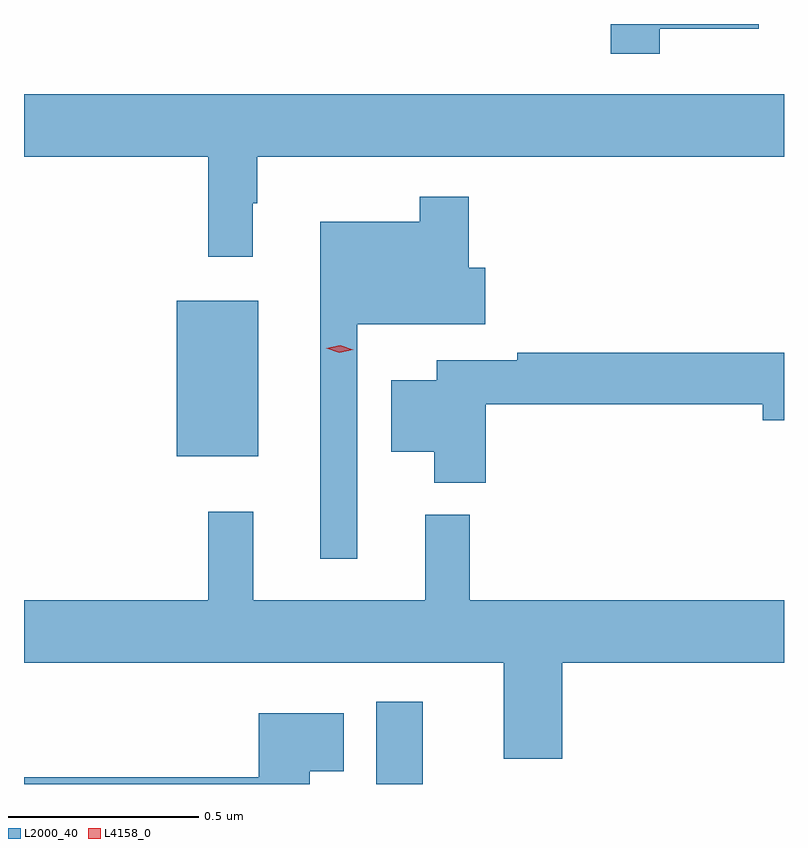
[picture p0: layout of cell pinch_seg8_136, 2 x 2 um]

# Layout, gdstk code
import gdstk
lib = gdstk.Library(unit=1e-6, precision=1e-09)
def R(c, l, rs):  # rectangles x0, y0, x1, y1
    for r in rs: c.add(gdstk.rectangle(r[:2], r[2:], *l))
def P(c, l, *ps):  # polygons
    for p in ps: c.add(gdstk.Polygon(p, *l))
L2000_40 = (2000, 40)
L4158_0 = (4158, 0)

pinch_seg8_136 = lib.new_cell('pinch_seg8_136')
R(pinch_seg8_136, L2000_40, [(773.273,1125.505,773.395,1125.721), (772.748,1126.367,772.963,1126.777)])
P(pinch_seg8_136, L2000_40, [(774.019,1127.492),(774.28,1127.492),(774.28,1127.505),(773.89,1127.505),(773.89,1127.427),(774.019,1127.427)],
  [(772.948,1127.033),(772.96,1127.033),(772.96,1127.156),(774.346,1127.156),(774.346,1127.32),(772.346,1127.32),(772.346,1127.156),(772.831,1127.156),(772.831,1126.893),(772.948,1126.893)],
  [(773.223,1126.715),(773.56,1126.715),(773.56,1126.863),(773.516,1126.863),(773.516,1127.05),(773.388,1127.05),(773.388,1126.984),(773.126,1126.984),(773.126,1126.098),(773.223,1126.098)],
  [(773.561,1126.504),(774.29,1126.504),(774.29,1126.462),(774.346,1126.462),(774.346,1126.64),(773.644,1126.64),(773.644,1126.62),(773.432,1126.62),(773.432,1126.567),(773.312,1126.567),(773.312,1126.379),(773.426,1126.379),(773.426,1126.298),(773.561,1126.298)],
  [(773.519,1126.213),(773.402,1126.213),(773.402,1125.988),(772.949,1125.988),(772.949,1126.222),(772.831,1126.222),(772.831,1125.988),(772.346,1125.988),(772.346,1125.824),(773.609,1125.824),(773.609,1125.572),(773.762,1125.572),(773.762,1125.824),(774.346,1125.824),(774.346,1125.988),(773.519,1125.988)],
  [(773.098,1125.539),(773.188,1125.539),(773.188,1125.691),(772.964,1125.691),(772.964,1125.523),(772.346,1125.523),(772.346,1125.505),(773.098,1125.505)])
P(pinch_seg8_136, L4158_0, [(773.176,1126.64),(773.142,1126.652),(773.142,1126.652),(773.142,1126.652),(773.178,1126.66),(773.212,1126.648),(773.213,1126.648),(773.212,1126.648)])

lib.write_gds('pinch_seg8_136.gds')
